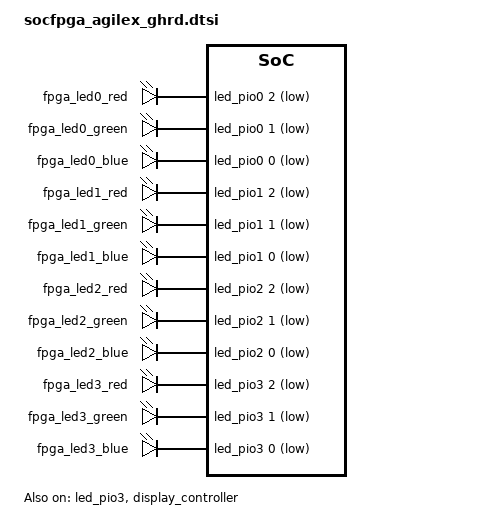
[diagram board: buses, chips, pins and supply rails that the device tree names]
/{
	soc@0 {

		sys_id: gpio@28000000 {
				compatible = "altr,sysid-1.0";
				reg = <0x28000000 0x08>;
		};				 


		button_pio: gpio@28000010 {
				compatible = "altr,pio-1.0";
				reg = <0x28000010 0x10>;
				interrupt-parent = <&intc>;
				interrupts = <0 17 4>;
				altr,ngpio = <2>;
				#gpio-cells = <2>;
				gpio-controller;
				#interrupt-cells = <1>;
				interrupt-controller;
				altr,interrupt-type = <IRQ_TYPE_EDGE_FALLING>;
		};

		dipsw_pio: gpio@28000020 {
				compatible = "altr,pio-1.0";
				reg = <0x28000020 0x10>;
				interrupt-parent = <&intc>;
				interrupts = <0 18 4>;
				altr,ngpio = <2>;
				#gpio-cells = <2>;
				gpio-controller;
				#interrupt-cells = <1>;
				interrupt-controller;
				altr,interrupt-type = <IRQ_TYPE_EDGE_BOTH>;
		};	

		led_pio0: gpio@28000030 {
				compatible = "altr,pio-1.0";
				reg = <0x28000030 0x10>;
				altr,gpio-bank-width = <3>;
				#gpio-cells = <2>;
				gpio-controller;
				resetvalue = <7>;				
		};
		
		led_pio1: gpio@28000040 {
				compatible = "altr,pio-1.0";
				reg = <0x28000040 0x10>;
				altr,gpio-bank-width = <3>;
				#gpio-cells = <2>;
				gpio-controller;
				resetvalue = <7>;				
		};
		
		led_pio2: gpio@28000050 {
				compatible = "altr,pio-1.0";
				reg = <0x28000050 0x10>;
				altr,gpio-bank-width = <3>;
				#gpio-cells = <2>;
				gpio-controller;
				resetvalue = <7>;				
		};
		
		led_pio3: gpio@28000060 {
				status = "okay";
				compatible = "altr,pio-1.0";
				reg = <0x28000060 0x10>;
				altr,gpio-bank-width = <3>;
				#gpio-cells = <2>;
				gpio-controller;
				resetvalue = <7>;				
		};
		
		display_controller: vfr@20008000 {
				status = "okay";
				compatible = "altr,vfr-drm-1.0";
				reg = <0x20008000 0x400>,   	/* VFR registers */
					  <0x20006000 0x200>;   	/* CVO registers */				
				dma-noncoherent;
		};		

		soc_leds: leds {
			compatible = "gpio-leds";
			
			fpga0_led_red {
					label = "fpga_led0_red";
					gpios = <&led_pio0 2 1>;
			};
		
			fpga0_led_green {
					label = "fpga_led0_green";
					gpios = <&led_pio0 1 1>;
			};	
		
			fpga0_led_blue {
					label = "fpga_led0_blue";
					gpios = <&led_pio0 0 1>;
			};
		
			fpga1_led_red {
					label = "fpga_led1_red";
					gpios = <&led_pio1 2 1>;
			};
		
			fpga1_led_green {
					label = "fpga_led1_green";
					gpios = <&led_pio1 1 1>;
			};	
		
			fpga1_led_blue {
					label = "fpga_led1_blue";
					gpios = <&led_pio1 0 1>;
			};
		
			fpga2_led_red {
					label = "fpga_led2_red";
					gpios = <&led_pio2 2 1>;
			};
		
			fpga2_led_green {
					label = "fpga_led2_green";
					gpios = <&led_pio2 1 1>;
			};	
		
			fpga2_led_blue {
					label = "fpga_led2_blue";
					gpios = <&led_pio2 0 1>;
			};
		
			fpga3_led_red {
					label = "fpga_led3_red";
					gpios = <&led_pio3 2 1>;
			};
		
			fpga3_led_green {
					label = "fpga_led3_green";
					gpios = <&led_pio3 1 1>;
			};	
		
			fpga3_led_blue {
					label = "fpga_led3_blue";
					gpios = <&led_pio3 0 1>;
			};			

		};

	};
};
